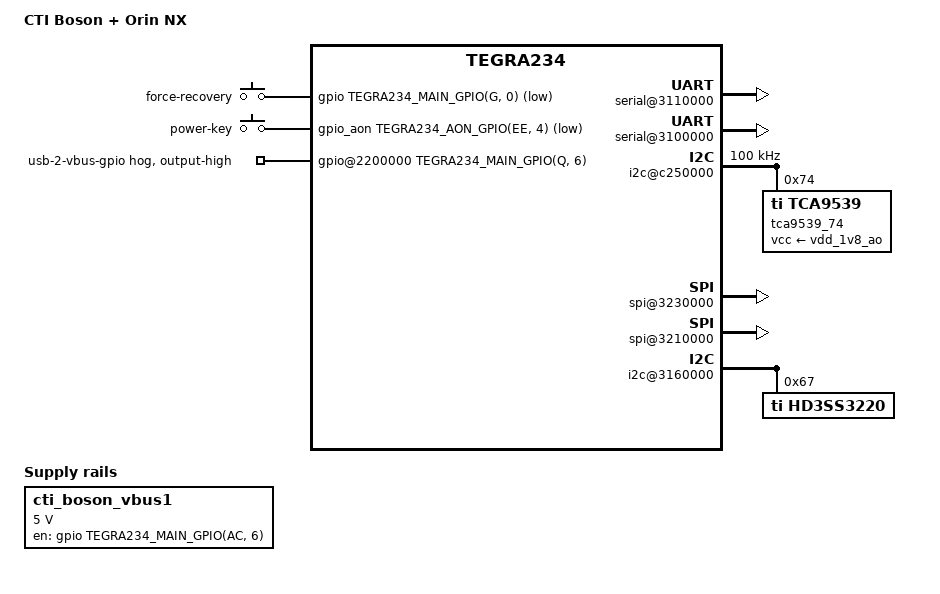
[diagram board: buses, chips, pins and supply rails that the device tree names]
/*
 * Copyright (c) 2024, Connect Tech Inc.  All rights reserved.
 *
 * This program is free software; you can redistribute it and/or modify it
 * under the terms and conditions of the GNU General Public License,
 * version 2, as published by the Free Software Foundation.
 *
 * This program is distributed in the hope it will be useful, but WITHOUT
 * ANY WARRANTY; without even the implied warranty of MERCHANTABILITY or
 * FITNESS FOR A PARTICULAR PURPOSE.  See the GNU General Public License for
 * more details.
 *
 * You should have received a copy of the GNU General Public License
 * along with this program.  If not, see <http://www.gnu.org/licenses/>.
 */

#include "tegra234-orin-nx-cti-base.dtsi"

/  {
    nvidia,dtsfilename = "tegra234-orin-nx-cti-NGX007.dts";
    model = "CTI Boson + Orin NX";


    /** configure gpio10 as wakeup*/
    gpio-keys {
        compatible = "gpio-keys";
        gpio-keys,name = "gpio-keys";
        status = "okay";
        forcerecovery {
            label = "force-recovery";
            gpios = <&gpio TEGRA234_MAIN_GPIO(G, 0) GPIO_ACTIVE_LOW>;
            linux,code = <BTN_1>;
        };

	

        power_key {
            label = "power-key";
            gpios = <&gpio_aon TEGRA234_AON_GPIO(EE, 4) GPIO_ACTIVE_LOW>;
            linux,code = <KEY_POWER>;
            gpio-key,wakeup;
        };

    };

        cti_boson_vbus1: regulator@201 {
            compatible = "regulator-fixed";
            reg=<201>;
            regulator-name = "cti-boson-otg-vbus";
            regulator-min-microvolt = <5000000>;
            regulator-max-microvolt = <5000000>;
            gpio = <&gpio TEGRA234_MAIN_GPIO(AC, 6) 0>;
            enable-active-high;
            regulator-always-on;
        };


    bus@0{


	serial@3110000 {
		status = "okay";
	};
	serial@3100000 {
		status = "okay";
	};

        can_clock: can_clock{
            compatible = "fixed-clock";
            #clock-cells = <0>;
            clock-frequency = <20000000>;
            clock-accuracy = <100>;
        };

        i2c@c250000 {
            status="okay";
            clock-frequency = <100000>;
            tca9539_74: tca9539@74 {
                compatible = "ti,tca9539";
                gpio-controller;
                #gpio-cells = <2>;
                reg = <0x74>;
                vcc-supply = <&vdd_1v8_ao>;
                status = "okay";
                gpio-line-names = "gpio-3.3v-0", "gpio-3.3v-1", "gpio-3.3v-2",
                "gpio-3.3v-3", "gpio-3.3v-4", "gpio-3.3v-5";
             };
        };
    spi@3230000{ /* SPI3 in 40 pin conn */
        status = "okay";
    };

    mttcan@c310000{
        status = "okay";
    };

    //mcp2517
    spi@3210000{ 
        status = "okay";
    };


    gpio@2200000 {
        /*mcp2517-rx-int {
            status="okay";
            gpio-hog;
            input;
            gpios=<TEGRA234_MAIN_GPIO(Q, 2) 0>;
            label="mcp2517-rx-int";
        };*/

        //on RevA this enables/disables all usbs on Rev C it just controls usb2_1
        //it was originally intended to be a regulator, but because of revA we are
        //momentarily keeping it as a gpio decoupled from usb2_1's node
        usb-2-vbus-gpio{  //usb-2 on the enclosure
            status="okay";
            gpio-hog;
            output-high;
            gpios=<TEGRA234_MAIN_GPIO(Q, 6) GPIO_ACTIVE_HIGH>;
            label="usb-2-vbus-gpio";

        };
    };
    /**define KSZ9897 switch i2c-1*/
    /*i2c@c240000 {
        status = "okay";
        ksz9897@5f{
            compatible = "microchip,ksz9897";
            reg=<0x5f>;
            status="okay";
            ports{
                #address-cells = <1>;
                #size-cells = <0>;

                port@0{
                    reg = <0>;
                    label = "CON_GBE";
                };

                port@1{
                    reg = <1>;
                    label = "MODULE_INT";
                    fixed-link{
                        speed=<1000>;
                        full-duplex;
                    };
                };

                port@2{
                    reg = <2>;
                    label = "M12_GBE2";
                };


                port@3{
                    reg = <3>;
                    label = "M12_GBE3";
                };

            };
        };
    };*/


    i2c@3160000{
	status = "okay";
       	hd3ss3220@67 {
		status = "okay";
		reg = <0x67>;
		compatible = "ti,hd3ss3220";
	}; 
    };

//    padctl@3520000 {
//        status = "okay";
//        pads {
//            usb2 {
//                lanes {
//                    usb2-0 {
//                        nvidia,function = "xusb";
//                        vbus-supply = <&cti_boson_vbus1>;
//                        status = "okay";
//                    };
//                    usb2-1 {
//                        nvidia,function = "xusb";
//                        status = "okay";
//                    };
//                    usb2-2 {
//                        nvidia,function = "xusb";
//                        status = "okay";
//                    };
//                };
//            };
//            usb3 {
//                lanes {
//                    usb3-0 {
//                        nvidia,function = "xusb";
//                        status = "okay";
//                    };
//                    usb3-2 {
//                        nvidia,function = "xusb";
//                        status = "okay";
//                    };
//                };
//            };
//        };
//        ports {
//            usb2-0 {
//                mode = "otg";
//                status = "okay";
//                vbus-supply = <&cti_boson_vbus1>;
//                usb-role-switch;
//                /delete-node/ connector;
//                connector {
//                    /* NOTE: PN: While the Physical connector is Type-C we are using the
//                     * microUSB driver as the HW uses the older OTG_ID/VBUS_DET gpio
//                     * for indicating role switchs
//                     */
//                    compatible = "gpio-usb-b-connector", "usb-b-connector";
//                    label = "micro-USB";
//                    type = "micro";
//                    vbus-gpios = <&gpio TEGRA234_MAIN_GPIO(Z, 1) GPIO_ACTIVE_HIGH>;
//                    id-gpios = <&gpio_aon TEGRA234_AON_GPIO(EE, 2) GPIO_ACTIVE_HIGH>;
//                };
//
//            };
//            usb2-1 {
//                mode = "host";
//                status = "okay";
//            };
//            usb2-2 {/* Goes to M2.E */
//                mode = "host";
//                status = "okay";
//            };
//            usb3-0 {
//                nvidia,usb2-companion = <0>;
//                status = "okay";
//            };
//            usb3-2{
//                nvidia,usb2-companion = <2>;
//                status = "okay";
//            };
//        };
//    };
//    usb@3550000 {
//        status = "okay";
//        phys =  <&{/bus@0/padctl@3520000/pads/usb2/lanes/usb2-0}>;
//        phy-names = "usb2-0","usb3-2";
//    };

    //pcie limit 3rd gen
    //14160000 Limit max of NVMe port to gen 3 to avoid AER errors
    pcie@14160000{
        max-link-speed=<0x3>;
    };

    };

};
